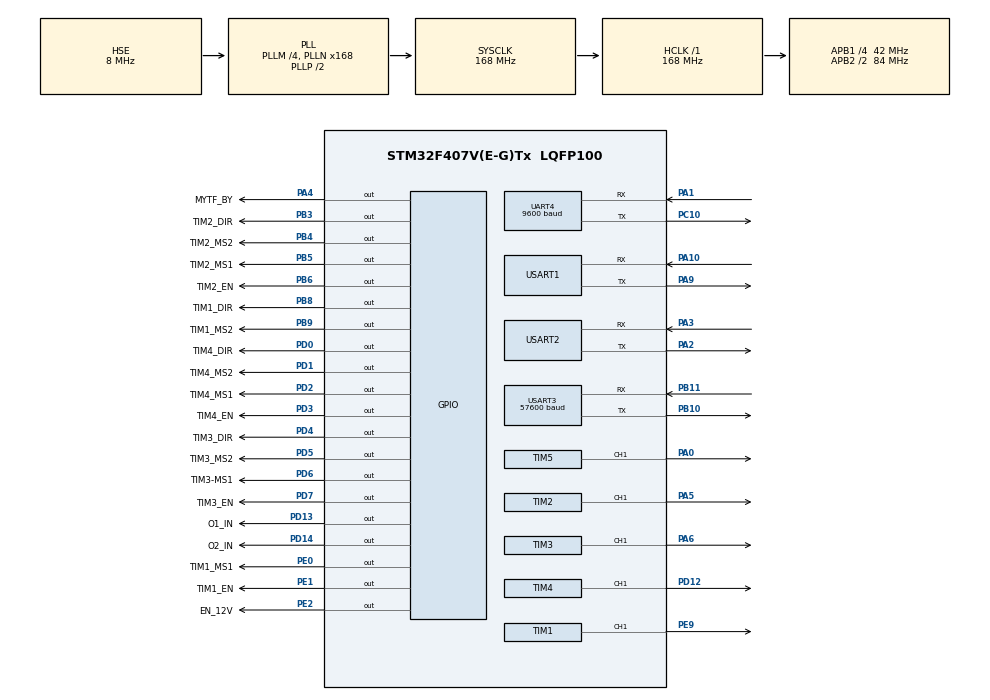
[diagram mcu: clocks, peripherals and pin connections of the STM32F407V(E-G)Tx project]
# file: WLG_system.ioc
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Dma.Request0=USART1_RX
Dma.Request1=USART1_TX
Dma.Request2=USART2_RX
Dma.Request3=USART2_TX
Dma.Request4=USART3_RX
Dma.Request5=USART3_TX
Dma.Request6=UART4_RX
Dma.Request7=UART4_TX
Dma.UART4_RX.6.Direction=DMA_PERIPH_TO_MEMORY
Dma.UART4_RX.6.FIFOMode=DMA_FIFOMODE_DISABLE
Dma.UART4_RX.6.Instance=DMA1_Stream2
Dma.UART4_RX.6.MemDataAlignment=DMA_MDATAALIGN_BYTE
Dma.UART4_RX.6.MemInc=DMA_MINC_ENABLE
Dma.UART4_RX.6.Mode=DMA_CIRCULAR
Dma.UART4_RX.6.PeriphDataAlignment=DMA_PDATAALIGN_BYTE
Dma.UART4_RX.6.PeriphInc=DMA_PINC_DISABLE
Dma.UART4_RX.6.Priority=DMA_PRIORITY_LOW
Dma.UART4_TX.7.Direction=DMA_MEMORY_TO_PERIPH
Dma.UART4_TX.7.FIFOMode=DMA_FIFOMODE_DISABLE
Dma.UART4_TX.7.Instance=DMA1_Stream4
Dma.UART4_TX.7.MemDataAlignment=DMA_MDATAALIGN_BYTE
Dma.UART4_TX.7.MemInc=DMA_MINC_ENABLE
Dma.UART4_TX.7.Mode=DMA_NORMAL
Dma.UART4_TX.7.PeriphDataAlignment=DMA_PDATAALIGN_BYTE
Dma.UART4_TX.7.PeriphInc=DMA_PINC_DISABLE
Dma.UART4_TX.7.Priority=DMA_PRIORITY_LOW
Dma.USART1_RX.0.Direction=DMA_PERIPH_TO_MEMORY
Dma.USART1_RX.0.FIFOMode=DMA_FIFOMODE_DISABLE
Dma.USART1_RX.0.Instance=DMA2_Stream2
Dma.USART1_RX.0.MemDataAlignment=DMA_MDATAALIGN_BYTE
Dma.USART1_RX.0.MemInc=DMA_MINC_ENABLE
Dma.USART1_RX.0.Mode=DMA_CIRCULAR
Dma.USART1_RX.0.PeriphDataAlignment=DMA_PDATAALIGN_BYTE
Dma.USART1_RX.0.PeriphInc=DMA_PINC_DISABLE
Dma.USART1_RX.0.Priority=DMA_PRIORITY_LOW
Dma.USART1_TX.1.Direction=DMA_MEMORY_TO_PERIPH
Dma.USART1_TX.1.FIFOMode=DMA_FIFOMODE_DISABLE
Dma.USART1_TX.1.Instance=DMA2_Stream7
Dma.USART1_TX.1.MemDataAlignment=DMA_MDATAALIGN_BYTE
Dma.USART1_TX.1.MemInc=DMA_MINC_ENABLE
Dma.USART1_TX.1.Mode=DMA_NORMAL
Dma.USART1_TX.1.PeriphDataAlignment=DMA_PDATAALIGN_BYTE
Dma.USART1_TX.1.PeriphInc=DMA_PINC_DISABLE
Dma.USART1_TX.1.Priority=DMA_PRIORITY_LOW
Dma.USART2_RX.2.Direction=DMA_PERIPH_TO_MEMORY
Dma.USART2_RX.2.FIFOMode=DMA_FIFOMODE_DISABLE
Dma.USART2_RX.2.Instance=DMA1_Stream5
Dma.USART2_RX.2.MemDataAlignment=DMA_MDATAALIGN_BYTE
Dma.USART2_RX.2.MemInc=DMA_MINC_ENABLE
Dma.USART2_RX.2.Mode=DMA_CIRCULAR
Dma.USART2_RX.2.PeriphDataAlignment=DMA_PDATAALIGN_BYTE
Dma.USART2_RX.2.PeriphInc=DMA_PINC_DISABLE
Dma.USART2_RX.2.Priority=DMA_PRIORITY_LOW
Dma.USART2_TX.3.Direction=DMA_MEMORY_TO_PERIPH
Dma.USART2_TX.3.FIFOMode=DMA_FIFOMODE_DISABLE
Dma.USART2_TX.3.Instance=DMA1_Stream6
Dma.USART2_TX.3.MemDataAlignment=DMA_MDATAALIGN_BYTE
Dma.USART2_TX.3.MemInc=DMA_MINC_ENABLE
Dma.USART2_TX.3.Mode=DMA_NORMAL
Dma.USART2_TX.3.PeriphDataAlignment=DMA_PDATAALIGN_BYTE
Dma.USART2_TX.3.PeriphInc=DMA_PINC_DISABLE
Dma.USART2_TX.3.Priority=DMA_PRIORITY_LOW
Dma.USART3_RX.4.Direction=DMA_PERIPH_TO_MEMORY
Dma.USART3_RX.4.FIFOMode=DMA_FIFOMODE_DISABLE
Dma.USART3_RX.4.Instance=DMA1_Stream1
Dma.USART3_RX.4.MemDataAlignment=DMA_MDATAALIGN_BYTE
Dma.USART3_RX.4.MemInc=DMA_MINC_ENABLE
Dma.USART3_RX.4.Mode=DMA_CIRCULAR
Dma.USART3_RX.4.PeriphDataAlignment=DMA_PDATAALIGN_BYTE
Dma.USART3_RX.4.PeriphInc=DMA_PINC_DISABLE
Dma.USART3_RX.4.Priority=DMA_PRIORITY_LOW
Dma.USART3_TX.5.Direction=DMA_MEMORY_TO_PERIPH
Dma.USART3_TX.5.FIFOMode=DMA_FIFOMODE_DISABLE
Dma.USART3_TX.5.Instance=DMA1_Stream3
Dma.USART3_TX.5.MemDataAlignment=DMA_MDATAALIGN_BYTE
Dma.USART3_TX.5.MemInc=DMA_MINC_ENABLE
Dma.USART3_TX.5.Mode=DMA_NORMAL
Dma.USART3_TX.5.PeriphDataAlignment=DMA_PDATAALIGN_BYTE
Dma.USART3_TX.5.PeriphInc=DMA_PINC_DISABLE
Dma.USART3_TX.5.Priority=DMA_PRIORITY_LOW
IWDG.Prescaler=IWDG_PRESCALER_64
IWDG.Reload=4000
Mcu.Family=STM32F4
Mcu.Name=STM32F407V(E-G)Tx
Mcu.Package=LQFP100
NVIC.DMA1_Stream1_IRQn=true\:0\:0\:false\:false\:true\:false\:true\:true
NVIC.DMA1_Stream2_IRQn=true\:0\:0\:false\:false\:true\:false\:true\:true
NVIC.DMA1_Stream3_IRQn=true\:0\:0\:false\:false\:true\:false\:true\:true
NVIC.DMA1_Stream4_IRQn=true\:0\:0\:false\:false\:true\:false\:true\:true
NVIC.DMA1_Stream5_IRQn=true\:0\:0\:false\:false\:true\:false\:true\:true
NVIC.DMA1_Stream6_IRQn=true\:0\:0\:false\:false\:true\:false\:true\:true
NVIC.DMA2_Stream2_IRQn=true\:0\:0\:false\:false\:true\:false\:true\:true
NVIC.DMA2_Stream7_IRQn=true\:0\:0\:false\:false\:true\:false\:true\:true
NVIC.PriorityGroup=NVIC_PRIORITYGROUP_4
NVIC.UART4_IRQn=true\:0\:0\:false\:false\:true\:true\:true\:true
NVIC.USART1_IRQn=true\:0\:0\:false\:false\:true\:true\:true\:true
NVIC.USART2_IRQn=true\:0\:0\:false\:false\:true\:true\:true\:true
NVIC.USART3_IRQn=true\:0\:0\:false\:false\:true\:true\:true\:true
PA0-WKUP.Signal=S_TIM5_CH1
PA1.Mode=Asynchronous
PA1.Signal=UART4_RX
PA10.Mode=Asynchronous
PA10.Signal=USART1_RX
PA13.Mode=Serial_Wire
PA13.Signal=SYS_JTMS-SWDIO
PA14.Mode=Serial_Wire
PA14.Signal=SYS_JTCK-SWCLK
PA2.Mode=Asynchronous
PA2.Signal=USART2_TX
PA3.Mode=Asynchronous
PA3.Signal=USART2_RX
PA4.GPIO_Label=MYTF_BY
PA4.GPIO_PuPd=GPIO_NOPULL
PA4.PinState=GPIO_PIN_RESET
PA4.Signal=GPIO_Output
PA5.Signal=S_TIM2_CH1_ETR
PA6.Signal=S_TIM3_CH1
PA9.Mode=Asynchronous
PA9.Signal=USART1_TX
PB10.Mode=Asynchronous
PB10.Signal=USART3_TX
PB11.Mode=Asynchronous
PB11.Signal=USART3_RX
PB3.GPIO_Label=TIM2_DIR
PB3.GPIO_PuPd=GPIO_PULLUP
PB3.Signal=GPIO_Output
PB4.GPIO_Label=TIM2_MS2
PB4.GPIO_PuPd=GPIO_PULLUP
PB4.Signal=GPIO_Output
PB5.GPIO_Label=TIM2_MS1
PB5.GPIO_PuPd=GPIO_PULLUP
PB5.Signal=GPIO_Output
PB6.GPIO_Label=TIM2_EN
PB6.GPIO_PuPd=GPIO_PULLUP
PB6.Signal=GPIO_Output
PB8.GPIO_Label=TIM1_DIR
PB8.GPIO_PuPd=GPIO_PULLUP
PB8.Signal=GPIO_Output
PB9.GPIO_Label=TIM1_MS2
PB9.GPIO_PuPd=GPIO_PULLUP
PB9.Signal=GPIO_Output
PC10.Mode=Asynchronous
PC10.Signal=UART4_TX
PD0.GPIO_Label=TIM4_DIR
PD0.GPIO_PuPd=GPIO_PULLUP
PD0.Signal=GPIO_Output
PD1.GPIO_Label=TIM4_MS2
PD1.GPIO_PuPd=GPIO_PULLUP
PD1.Signal=GPIO_Output
PD12.Signal=S_TIM4_CH1
PD13.GPIO_Label=O1_IN
PD13.GPIO_PuPd=GPIO_PULLDOWN
PD13.Signal=GPIO_Output
PD14.GPIO_Label=O2_IN
PD14.GPIO_PuPd=GPIO_PULLDOWN
PD14.Signal=GPIO_Output
PD2.GPIO_Label=TIM4_MS1
PD2.GPIO_PuPd=GPIO_PULLUP
PD2.Signal=GPIO_Output
PD3.GPIO_Label=TIM4_EN
PD3.GPIO_PuPd=GPIO_PULLUP
PD3.Signal=GPIO_Output
PD4.GPIO_Label=TIM3_DIR
PD4.GPIO_PuPd=GPIO_PULLUP
PD4.Signal=GPIO_Output
PD5.GPIO_Label=TIM3_MS2
PD5.GPIO_PuPd=GPIO_PULLUP
PD5.Signal=GPIO_Output
PD6.GPIO_Label=TIM3-MS1
PD6.GPIO_PuPd=GPIO_PULLUP
PD6.Signal=GPIO_Output
PD7.GPIO_Label=TIM3_EN
PD7.GPIO_PuPd=GPIO_PULLUP
PD7.Signal=GPIO_Output
PE0.GPIO_Label=TIM1_MS1
PE0.GPIO_PuPd=GPIO_PULLUP
PE0.Signal=GPIO_Output
PE1.GPIO_Label=TIM1_EN
PE1.GPIO_PuPd=GPIO_PULLUP
PE1.Signal=GPIO_Output
PE2.GPIO_Label=EN_12V
PE2.GPIO_PuPd=GPIO_PULLDOWN
PE2.Signal=GPIO_Output
PE9.Signal=S_TIM1_CH1
PH0-OSC_IN.Mode=HSE-External-Oscillator
PH0-OSC_IN.Signal=RCC_OSC_IN
PH1-OSC_OUT.Mode=HSE-External-Oscillator
PH1-OSC_OUT.Signal=RCC_OSC_OUT
ProjectManager.HeapSize=0x200
ProjectManager.StackSize=0x400
ProjectManager.TargetToolchain=MDK-ARM V5
RCC.48MHZClocksFreq_Value=84000000
RCC.AHBFreq_Value=168000000
RCC.APB1CLKDivider=RCC_HCLK_DIV4
RCC.APB1Freq_Value=42000000
RCC.APB1TimFreq_Value=84000000
RCC.APB2CLKDivider=RCC_HCLK_DIV2
RCC.APB2Freq_Value=84000000
RCC.APB2TimFreq_Value=168000000
RCC.CortexFreq_Value=168000000
RCC.HCLKFreq_Value=168000000
RCC.HSE_VALUE=8000000
RCC.HSI_VALUE=16000000
RCC.LSE_VALUE=32768
RCC.PLLM=4
RCC.PLLN=168
RCC.PLLSourceVirtual=RCC_PLLSOURCE_HSE
RCC.SYSCLKFreq_VALUE=168000000
RCC.SYSCLKSource=RCC_SYSCLKSOURCE_PLLCLK
RCC.VCOOutputFreq_Value=336000000
SH.S_TIM1_CH1.0=TIM1_CH1,PWM Generation1 CH1
SH.S_TIM2_CH1_ETR.0=TIM2_CH1,PWM Generation1 CH1
SH.S_TIM3_CH1.0=TIM3_CH1,PWM Generation1 CH1
SH.S_TIM4_CH1.0=TIM4_CH1,PWM Generation1 CH1
SH.S_TIM5_CH1.0=TIM5_CH1,PWM Generation1 CH1
TIM1.AutoReloadPreload=TIM_AUTORELOAD_PRELOAD_ENABLE
TIM1.Channel-PWM\ Generation1\ CH1=TIM_CHANNEL_1
TIM1.OCMode_PWM-PWM\ Generation1\ CH1=TIM_OCMODE_PWM1
TIM1.Period=999
TIM1.Prescaler=167
TIM1.Pulse-PWM\ Generation1\ CH1=500
TIM2.AutoReloadPreload=TIM_AUTORELOAD_PRELOAD_ENABLE
TIM2.Channel-PWM\ Generation1\ CH1=TIM_CHANNEL_1
TIM2.Period=999
TIM2.Prescaler=167
TIM2.Pulse-PWM\ Generation1\ CH1=500
TIM3.AutoReloadPreload=TIM_AUTORELOAD_PRELOAD_ENABLE
TIM3.Channel-PWM\ Generation1\ CH1=TIM_CHANNEL_1
TIM3.Period=999
TIM3.Prescaler=167
TIM3.Pulse-PWM\ Generation1\ CH1=500
TIM4.AutoReloadPreload=TIM_AUTORELOAD_PRELOAD_ENABLE
TIM4.Channel-PWM\ Generation1\ CH1=TIM_CHANNEL_1
TIM4.Period=999
TIM4.Prescaler=167
TIM4.Pulse-PWM\ Generation1\ CH1=500
TIM5.Channel-PWM\ Generation1\ CH1=TIM_CHANNEL_1
UART4.BaudRate=9600
UART4.VirtualMode=Asynchronous
UART4.WordLength=WORDLENGTH_8B
USART1.VirtualMode=VM_ASYNC
USART2.VirtualMode=VM_ASYNC
USART3.BaudRate=57600
USART3.VirtualMode=VM_ASYNC
VP_IWDG_VS_IWDG.Mode=IWDG_Activate
VP_TIM1_VS_ClockSourceINT.Mode=Internal
VP_TIM2_VS_ClockSourceINT.Mode=Internal
VP_TIM3_VS_ClockSourceINT.Mode=Internal
VP_TIM4_VS_ClockSourceINT.Mode=Internal
VP_TIM5_VS_ClockSourceINT.Mode=Internal
board=custom

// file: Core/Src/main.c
/* USER CODE BEGIN Header */
/**
  ******************************************************************************
  * @file           : main.c
  * @brief          : Main program body
  ******************************************************************************
  * @attention
  *
  * Copyright (c) 2025 STMicroelectronics.
  * All rights reserved.
  *
  * This software is licensed under terms that can be found in the LICENSE file
  * in the root directory of this software component.
  * If no LICENSE file comes with this software, it is provided AS-IS.
  *
  ******************************************************************************
  */
/* USER CODE END Header */
#include "main.h"
#include "dma.h"
#include "iwdg.h"
#include "tim.h"
#include "usart.h"
#include "gpio.h"

/* USER CODE BEGIN Includes */
#include "fifo.h"
#include "uart_dma.h"
#include "MY_Temper.h"
#include "MY_Step.h"
#include "MY_CO2.h"
#include "app_config.h"
#include <string.h>
/* USER CODE END Includes */

/* USER CODE BEGIN PV */

char rx_buffer[CMD_BUFFER_SIZE]={0};
char command_buffer[CMD_BUFFER_SIZE]={0};
uint32_t ReceiveLen=0;
uint8_t command_received = 0;
char result_code[CMD_BUFFER_SIZE]={0};

/* USER CODE END PV */

void SystemClock_Config(void);

/* USER CODE BEGIN 0 */

/*
 * 函数: Processcommand
 * 功能: 从 USART1 接收 FIFO 中读取上位机命令, 以 @ 作为一帧命令结束符。
 * 硬件对应:
 *  - D0: 内部培养液温控器, USART3, 目标 37.0 摄氏度。
 *  - D1: 外部观察环境温控器, USART2, 目标 30.0 摄氏度。
 *  - D2: 四路灌流泵/步进电机。
 *  - D3: CO2 传感器和浓度控制。
 */
void Processcommand(void)
{
    static char cmd_buf[CMD_BUFFER_SIZE];
    static uint16_t cmd_len = 0;
    uint8_t byte;

    while (!fifo_s_is_empty(&uart1_rx_fifo))
    {
        fifo_s_get(&uart1_rx_fifo, &byte);

        /* 命令过长时丢弃当前帧, 防止缓冲区溢出。 */
        if (cmd_len >= (sizeof(cmd_buf) - 1U))
        {
            cmd_len = 0;
        }

        cmd_buf[cmd_len++] = byte;

        if (byte == '@')
        {
            cmd_buf[cmd_len] = '\0';

            /* 按 D0/D1/D2/D3 前缀分发到对应模块。 */
            if (strncmp((char*)cmd_buf, "D0", 2) == 0)
            {
                /* D0: 内部温控器, 通过 USART3 转发。 */
                memmove(cmd_buf, cmd_buf + 2, strlen((char*)cmd_buf + 2) + 1);
                ProcessD0Command(cmd_buf);
            }
            else if (strncmp((char*)cmd_buf, "D1", 2) == 0)
            {
                /* D1: 外部温控器, 通过 USART2 转发。 */
                memmove(cmd_buf, cmd_buf + 2, strlen((char*)cmd_buf + 2) + 1);
                ProcessD1TempCommand(cmd_buf);
            }
            else if(strncmp((char*)cmd_buf, "D2", 2) == 0)
            {
                /* D2: 四路灌流泵/步进电机模块。 */
                memmove(cmd_buf, cmd_buf + 2, strlen((char*)cmd_buf + 2) + 1);
                ProcessD2Command(cmd_buf);
            }
            else if(strncmp((char*)cmd_buf, "D3", 2) == 0)
            {
                /* D3: CO2 模块。 */
                memmove(cmd_buf, cmd_buf + 2, strlen((char*)cmd_buf + 2) + 1);
                ProcessD3Command(cmd_buf);
            }
            else
            {
                const char *result_code = "InvalidCommand\r\n";
                fifo_s_puts(&uart1_tx_fifo, (uint8_t*)result_code, strlen(result_code));
                send_data_from_tx_fifo();
            }

            cmd_len = 0;
        }
    }
}

/* USER CODE END 0 */

int main(void)
{

  /* MCU Configuration--------------------------------------------------------*/

  /* Reset of all peripherals, Initializes the Flash interface and the Systick. */
  HAL_Init();

  /* Configure the system clock */
  SystemClock_Config();

  /* Initialize all configured peripherals */
  MX_GPIO_Init();
  MX_DMA_Init();
  MX_USART1_UART_Init();
  MX_USART2_UART_Init();
  MX_TIM1_Init();
  MX_USART3_UART_Init();
  MX_UART4_Init();
  MX_IWDG_Init();
  MX_TIM2_Init();
  MX_TIM3_Init();
  MX_TIM4_Init();
  MX_TIM5_Init();
  /* USER CODE BEGIN 2 */

  // StepperMotor_Init(100,8);
  // HAL_TIM_PWM_Start(&htim1,TIM_CHANNEL_1);

  HAL_Delay(1000);
  UART_System_Init();
  AppConfig_Init();
  HAL_Delay(1000);
  StepperMotor_Init();
  // HAL_Delay(1000);
  // TemperatureSensor_Init();
  HAL_Delay(1000);
  CO2Module_Init();

  /* USER CODE END 2 */

  /* Infinite loop */
  while (1)
  {

    /* USER CODE BEGIN 3 */

  Processcommand();
  CO2_ControlTask();
  HAL_IWDG_Refresh(&hiwdg);

  }
  /* USER CODE END 3 */
}

void SystemClock_Config(void)
{
  RCC_OscInitTypeDef RCC_OscInitStruct = {0};
  RCC_ClkInitTypeDef RCC_ClkInitStruct = {0};

  /** Configure the main internal regulator output voltage
  */
  __HAL_RCC_PWR_CLK_ENABLE();
  __HAL_PWR_VOLTAGESCALING_CONFIG(PWR_REGULATOR_VOLTAGE_SCALE1);

  /** Initializes the RCC Oscillators according to the specified parameters
  * in the RCC_OscInitTypeDef structure.
  */
  RCC_OscInitStruct.OscillatorType = RCC_OSCILLATORTYPE_LSI|RCC_OSCILLATORTYPE_HSE;
  RCC_OscInitStruct.HSEState = RCC_HSE_ON;
  RCC_OscInitStruct.LSIState = RCC_LSI_ON;
  RCC_OscInitStruct.PLL.PLLState = RCC_PLL_ON;
  RCC_OscInitStruct.PLL.PLLSource = RCC_PLLSOURCE_HSE;
  RCC_OscInitStruct.PLL.PLLM = 4;
  RCC_OscInitStruct.PLL.PLLN = 168;
  RCC_OscInitStruct.PLL.PLLP = RCC_PLLP_DIV2;
  RCC_OscInitStruct.PLL.PLLQ = 4;
  if (HAL_RCC_OscConfig(&RCC_OscInitStruct) != HAL_OK)
  {
    Error_Handler();
  }

  /** Initializes the CPU, AHB and APB buses clocks
  */
  RCC_ClkInitStruct.ClockType = RCC_CLOCKTYPE_HCLK|RCC_CLOCKTYPE_SYSCLK
                              |RCC_CLOCKTYPE_PCLK1|RCC_CLOCKTYPE_PCLK2;
  RCC_ClkInitStruct.SYSCLKSource = RCC_SYSCLKSOURCE_PLLCLK;
  RCC_ClkInitStruct.AHBCLKDivider = RCC_SYSCLK_DIV1;
  RCC_ClkInitStruct.APB1CLKDivider = RCC_HCLK_DIV4;
  RCC_ClkInitStruct.APB2CLKDivider = RCC_HCLK_DIV2;

  if (HAL_RCC_ClockConfig(&RCC_ClkInitStruct, FLASH_LATENCY_5) != HAL_OK)
  {
    Error_Handler();
  }
}

void Error_Handler(void)
{
  __disable_irq();
  while (1)
  {
  }
}
